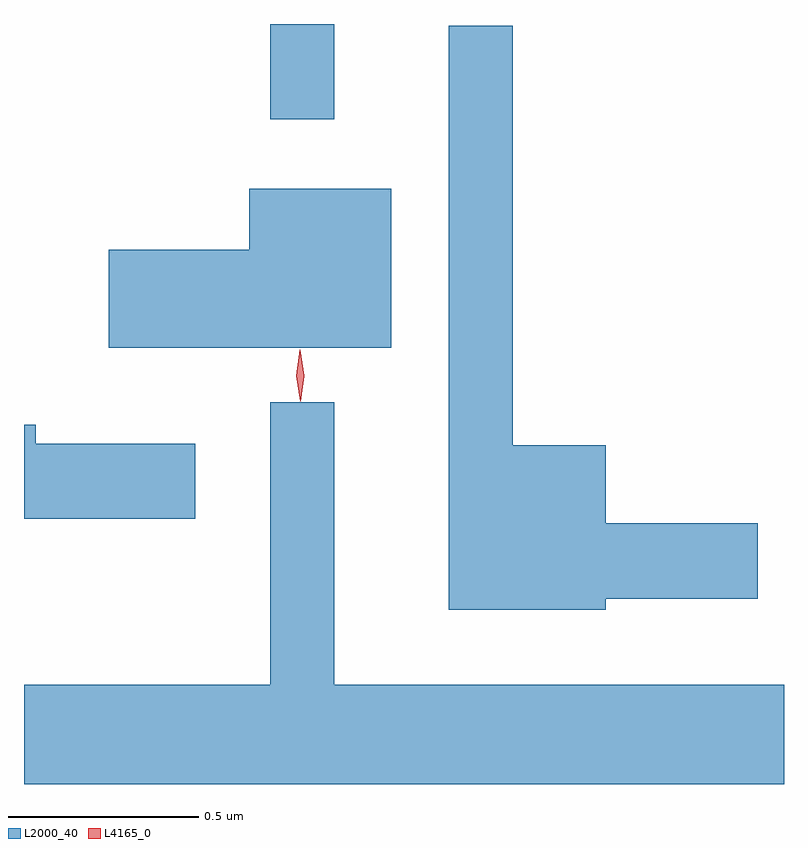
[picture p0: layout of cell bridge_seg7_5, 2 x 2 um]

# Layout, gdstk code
import gdstk
lib = gdstk.Library(unit=1e-6, precision=1e-09)
def R(c, l, rs):  # rectangles x0, y0, x1, y1
    for r in rs: c.add(gdstk.rectangle(r[:2], r[2:], *l))
def P(c, l, *ps):  # polygons
    for p in ps: c.add(gdstk.Polygon(p, *l))
L2000_40 = (2000, 40)
L4165_0 = (4165, 0)

bridge_seg7_5 = lib.new_cell('bridge_seg7_5')
R(bridge_seg7_5, L2000_40, [(1671.301,1760.473,1671.469,1760.723)])
P(bridge_seg7_5, L2000_40, [(1672.184,1759.211),(1672.584,1759.211),(1672.584,1759.409),(1672.184,1759.409),(1672.184,1759.614),(1671.939,1759.614),(1671.939,1760.718),(1671.771,1760.718),(1671.771,1759.181),(1672.184,1759.181)],
  [(1671.619,1760.289),(1671.246,1760.289),(1671.246,1760.129),(1670.876,1760.129),(1670.876,1759.871),(1671.619,1759.871)],
  [(1672.653,1758.984),(1671.469,1758.984),(1671.469,1759.728),(1671.301,1759.728),(1671.301,1758.984),(1670.653,1758.984),(1670.653,1758.723),(1672.653,1758.723)],
  [(1671.104,1759.619),(1670.684,1759.619),(1670.684,1759.669),(1670.653,1759.669),(1670.653,1759.421),(1671.104,1759.421)])
P(bridge_seg7_5, L4165_0, [(1671.38,1759.733),(1671.38,1759.733),(1671.37,1759.796),(1671.379,1759.859),(1671.379,1759.859),(1671.38,1759.859),(1671.39,1759.796),(1671.381,1759.733)],
  [(1671.38,1759.73),(1671.38,1759.73),(1671.37,1759.798),(1671.379,1759.866),(1671.38,1759.866),(1671.38,1759.866),(1671.39,1759.798),(1671.381,1759.73)])

lib.write_gds('bridge_seg7_5.gds')
